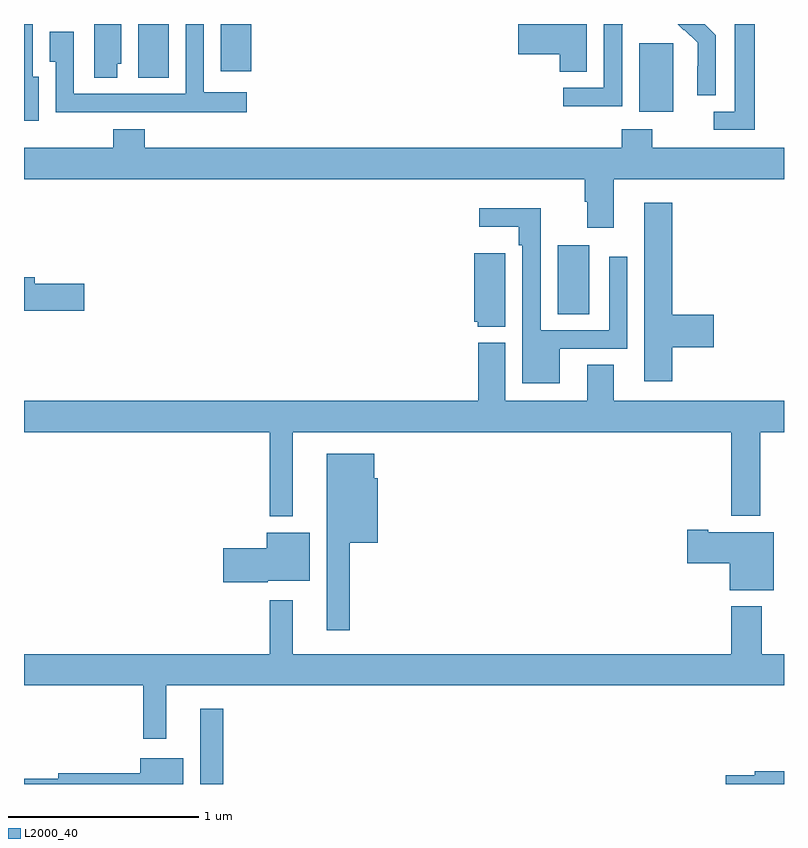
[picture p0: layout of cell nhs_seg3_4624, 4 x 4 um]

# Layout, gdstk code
import gdstk
lib = gdstk.Library(unit=1e-6, precision=1e-09)
def R(c, l, rs):  # rectangles x0, y0, x1, y1
    for r in rs: c.add(gdstk.rectangle(r[:2], r[2:], *l))
def P(c, l, *ps):  # polygons
    for p in ps: c.add(gdstk.Polygon(p, *l))
L2000_40 = (2000, 40)

nhs_seg3_4624 = lib.new_cell('nhs_seg3_4624')
R(nhs_seg3_4624, L2000_40, [(359.927,696.4,360.049,696.796), (361.808,698.872,361.975,699.235), (362.237,699.938,362.416,700.299), (359.6,700.117,359.761,700.4), (360.035,700.152,360.196,700.4)])
P(nhs_seg3_4624, L2000_40, [(361.963,700.4),(361.602,700.4),(361.602,700.241),(361.82,700.241),(361.82,700.15),(361.963,700.15)],
  [(362.64,700.342),(362.582,700.4),(362.44,700.4),(362.472,700.368),(362.475,700.371),(362.546,700.301),(362.546,700.178),(362.544,700.178),(362.544,700.024),(362.64,700.024)],
  [(362.148,700.396),(362.151,700.396),(362.151,700.4),(362.052,700.4),(362.052,700.065),(361.839,700.065),(361.839,699.967),(362.148,699.967)],
  [(362.845,700.4),(362.741,700.4),(362.741,699.939),(362.631,699.939),(362.631,699.843),(362.845,699.843)],
  [(359.077,700.123),(359.047,700.123),(359.047,700.4),(359,700.4),(359,699.891),(359.077,699.891)],
  [(359.387,699.936),(359.753,699.936),(359.753,699.935),(360.172,699.935),(360.172,700.042),(359.946,700.042),(359.946,700.4),(359.85,700.4),(359.85,700.032),(359.262,700.032),(359.262,700.36),(359.135,700.36),(359.135,700.201),(359.166,700.201),(359.166,699.935),(359.387,699.935)],
  [(359.491,700.191),(359.512,700.191),(359.512,700.4),(359.369,700.4),(359.369,700.117),(359.491,700.117)],
  [(362.104,699.584),(363,699.584),(363,699.748),(362.307,699.748),(362.307,699.847),(362.147,699.847),(362.147,699.748),(359.636,699.748),(359.636,699.847),(359.471,699.847),(359.471,699.748),(359,699.748),(359,699.584),(361.952,699.584),(361.952,699.464),(361.964,699.464),(361.964,699.327),(362.104,699.327)],
  [(362.411,698.699),(362.629,698.699),(362.629,698.87),(362.411,698.87),(362.411,699.46),(362.264,699.46),(362.264,698.52),(362.411,698.52)],
  [(361.819,698.691),(362.175,698.691),(362.175,699.175),(362.079,699.175),(362.079,698.787),(361.719,698.787),(361.719,699.43),(361.395,699.43),(361.395,699.332),(361.603,699.332),(361.603,699.236),(361.623,699.236),(361.623,698.51),(361.819,698.51)],
  [(361.534,699.193),(361.37,699.193),(361.37,698.832),(361.389,698.832),(361.389,698.807),(361.534,698.807)],
  [(359.317,699.032),(359.056,699.032),(359.056,699.068),(359,699.068),(359,698.89),(359.317,698.89)],
  [(360.415,698.252),(362.723,698.252),(362.723,697.811),(362.875,697.811),(362.875,698.252),(363,698.252),(363,698.416),(362.104,698.416),(362.104,698.606),(361.964,698.606),(361.964,698.416),(361.534,698.416),(361.534,698.722),(361.391,698.722),(361.391,698.416),(359,698.416),(359,698.252),(360.294,698.252),(360.294,697.808),(360.415,697.808)],
  [(360.715,697.67),(360.862,697.67),(360.862,698.01),(360.844,698.01),(360.844,698.137),(360.593,698.137),(360.593,697.209),(360.715,697.209)],
  [(362.947,697.726),(362.602,697.726),(362.602,697.739),(362.49,697.739),(362.49,697.561),(362.714,697.561),(362.714,697.421),(362.947,697.421)],
  [(360.282,697.469),(360.505,697.469),(360.505,697.723),(360.278,697.723),(360.278,697.64),(360.048,697.64),(360.048,697.462),(360.282,697.462)],
  [(359.749,696.92),(363,696.92),(363,697.084),(362.883,697.084),(362.883,697.336),(362.723,697.336),(362.723,697.084),(360.415,697.084),(360.415,697.366),(360.294,697.366),(360.294,697.084),(359,697.084),(359,696.92),(359.628,696.92),(359.628,696.639),(359.749,696.639)],
  [(359.839,696.535),(359.612,696.535),(359.612,696.457),(359.18,696.457),(359.18,696.428),(359,696.428),(359,696.4),(359.839,696.4)],
  [(363,696.468),(362.847,696.468),(362.847,696.447),(362.694,696.447),(362.694,696.4),(363,696.4)])

lib.write_gds('nhs_seg3_4624.gds')
